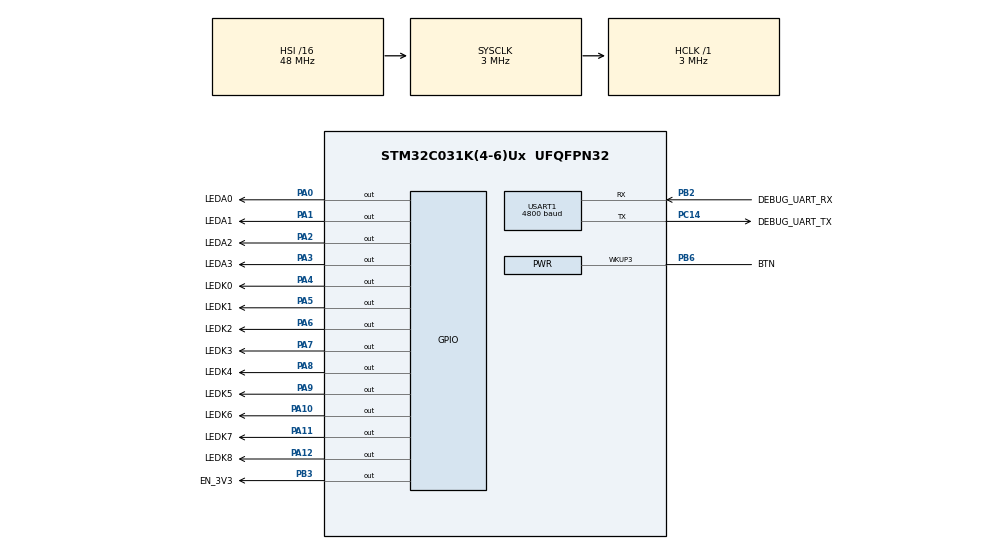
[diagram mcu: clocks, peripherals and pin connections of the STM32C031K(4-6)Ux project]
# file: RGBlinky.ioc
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ADC1.NbrOfConversionFlag=0
ADC1.Resolution=ADC_RESOLUTION_12B
ADC1.SelectedChannel=ADC_CHANNEL_VDDA
ADC1.master=1
Dma.DMA_GENERATOR0.0.Direction=DMA_MEMORY_TO_PERIPH
Dma.DMA_GENERATOR0.0.EventEnable=DISABLE
Dma.DMA_GENERATOR0.0.Instance=DMA1_Channel1
Dma.DMA_GENERATOR0.0.MemDataAlignment=DMA_MDATAALIGN_WORD
Dma.DMA_GENERATOR0.0.MemInc=DMA_MINC_ENABLE
Dma.DMA_GENERATOR0.0.Mode=DMA_CIRCULAR
Dma.DMA_GENERATOR0.0.PeriphDataAlignment=DMA_PDATAALIGN_WORD
Dma.DMA_GENERATOR0.0.PeriphInc=DMA_PINC_DISABLE
Dma.DMA_GENERATOR0.0.Polarity=HAL_DMAMUX_REQ_GEN_RISING
Dma.DMA_GENERATOR0.0.Priority=DMA_PRIORITY_HIGH
Dma.DMA_GENERATOR0.0.RequestNumber=1
Dma.DMA_GENERATOR0.0.SignalID=NONE
Dma.DMA_GENERATOR0.0.SyncEnable=DISABLE
Dma.DMA_GENERATOR0.0.SyncPolarity=HAL_DMAMUX_SYNC_NO_EVENT
Dma.DMA_GENERATOR0.0.SyncRequestNumber=1
Dma.DMA_GENERATOR0.0.SyncSignalID=NONE
Dma.Request0=DMA_GENERATOR0
Mcu.Family=STM32C0
Mcu.Name=STM32C031K(4-6)Ux
Mcu.Package=UFQFPN32
PA0.GPIO_Label=LEDA0
PA0.Signal=GPIO_Output
PA1.GPIO_Label=LEDA1
PA1.Signal=GPIO_Output
PA10.GPIO_Label=LEDK6
PA10.Signal=GPIO_Output
PA11\ [PA9].GPIO_Label=LEDK7
PA11\ [PA9].Signal=GPIO_Output
PA12\ [PA10].GPIO_Label=LEDK8
PA12\ [PA10].Signal=GPIO_Output
PA13.Mode=Serial_Wire
PA13.Signal=DEBUG_SWDIO
PA14-BOOT0.Mode=Serial_Wire
PA14-BOOT0.Signal=DEBUG_SWCLK
PA2.GPIO_Label=LEDA2
PA2.Signal=GPIO_Output
PA3.GPIO_Label=LEDA3
PA3.Signal=GPIO_Output
PA4.GPIO_Label=LEDK0
PA4.Signal=GPIO_Output
PA5.GPIO_Label=LEDK1
PA5.Signal=GPIO_Output
PA6.GPIO_Label=LEDK2
PA6.Signal=GPIO_Output
PA7.GPIO_Label=LEDK3
PA7.Signal=GPIO_Output
PA8.GPIO_Label=LEDK4
PA8.Signal=GPIO_Output
PA9.GPIO_Label=LEDK5
PA9.Signal=GPIO_Output
PB2.GPIO_Label=DEBUG_UART_RX
PB2.Mode=Asynchronous
PB2.Signal=USART1_RX
PB3.GPIO_Label=EN_3V3
PB3.Signal=GPIO_Output
PB6.GPIO_Label=BTN
PB6.Mode=WakeUp3
PB6.Signal=PWR_WKUP3
PC14-OSCX_IN\ (PC14).GPIO_Label=DEBUG_UART_TX
PC14-OSCX_IN\ (PC14).Mode=Asynchronous
PC14-OSCX_IN\ (PC14).Signal=USART1_TX
ProjectManager.HeapSize=0x200
ProjectManager.StackSize=0x400
ProjectManager.TargetToolchain=STM32CubeIDE
RCC.ADCFreq_Value=3000000
RCC.AHBFreq_Value=3000000
RCC.CortexFreq_Value=3000000
RCC.EXTERNAL_CLOCK_VALUE=12288000
RCC.HCLKFreq_Value=3000000
RCC.HSE_VALUE=8000000
RCC.HSISYSCLKDivider=RCC_HSI_DIV16
RCC.HSI_VALUE=48000000
RCC.LSE_VALUE=32768
RCC.SYSCLKFreq_VALUE=3000000
USART1.BaudRate=4800
USART1.VirtualMode-Asynchronous=VM_ASYNC
VP_ADC1_Vdda_Input.Mode=IN-VDDA
board=custom

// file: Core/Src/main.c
/* USER CODE BEGIN Header */
/**
  ******************************************************************************
  * @file           : main.c
  * @brief          : Main program body
  ******************************************************************************
  * @attention
  *
  * Copyright (c) 2025 STMicroelectronics.
  * All rights reserved.
  *
  * This software is licensed under terms that can be found in the LICENSE file
  * in the root directory of this software component.
  * If no LICENSE file comes with this software, it is provided AS-IS.
  *
  ******************************************************************************
  */
/* USER CODE END Header */
#include "main.h"
#include "adc.h"
#include "dma.h"
#include "usart.h"
#include "gpio.h"

/* USER CODE BEGIN Includes */
#include <stdbool.h>

// Defines
#define LED_ROWS 4
#define LED_NUM 9
#define LED_CNT LED_ROWS * LED_COLS // RGB
#define LED_PWM_MAX 255 // 0...255 -> 256 steps
#define BUFFER_SIZE LED_ROWS * LED_PWM_MAX
#define BUFFER_COUNT 2
#define FRAME_COUNT 4

// Arrays and variables
uint32_t LedBuffer[BUFFER_COUNT][BUFFER_SIZE]; // Circular DMA buffer - 2*4kB
bool BufferSelect = 0;

uint8_t LedFrame[FRAME_COUNT][LED_ROWS][LED_NUM] = {
		{
			{255, 0, 0, 0, 255, 0, 0, 0, 255},
			{191, 0, 0, 0, 191, 0, 0, 0, 191},
			{127, 0, 0, 0, 127, 0, 0, 0, 127},
			{63, 0, 0, 0, 63, 0, 0, 0, 63}
		},
		{
			{255, 0, 0, 127, 0, 0, 63, 0, 0},
			{255, 0, 0, 127, 0, 0, 63, 0, 0},
			{255, 0, 0, 127, 0, 0, 63, 0, 0},
			{255, 0, 0, 127, 0, 0, 63, 0, 0}
		},
		{
			{0, 255, 0, 0, 127, 0, 0, 63, 0},
			{0, 255, 0, 0, 127, 0, 0, 63, 0},
			{0, 255, 0, 0, 127, 0, 0, 63, 0},
			{0, 255, 0, 0, 127, 0, 0, 63, 0}
		},
		{
			{0, 0, 255, 0, 0, 127, 0, 0, 63},
			{0, 0, 255, 0, 0, 127, 0, 0, 63},
			{0, 0, 255, 0, 0, 127, 0, 0, 63},
			{0, 0, 255, 0, 0, 127, 0, 0, 63}
		}
};

// Gamma brightness lookup table <https://victornpb.github.io/gamma-table-generator>
// gamma = 1.50 steps = 256 range = 0-255
const uint8_t gamma_lut[256] = {
     0,   0,   0,   0,   1,   1,   1,   1,   1,   2,   2,   2,   3,   3,   3,   4,
     4,   4,   5,   5,   6,   6,   6,   7,   7,   8,   8,   9,   9,  10,  10,  11,
    11,  12,  12,  13,  14,  14,  15,  15,  16,  16,  17,  18,  18,  19,  20,  20,
    21,  21,  22,  23,  23,  24,  25,  26,  26,  27,  28,  28,  29,  30,  31,  31,
    32,  33,  34,  34,  35,  36,  37,  37,  38,  39,  40,  41,  41,  42,  43,  44,
    45,  46,  46,  47,  48,  49,  50,  51,  52,  53,  53,  54,  55,  56,  57,  58,
    59,  60,  61,  62,  63,  64,  65,  65,  66,  67,  68,  69,  70,  71,  72,  73,
    74,  75,  76,  77,  78,  79,  80,  81,  82,  83,  84,  85,  86,  88,  89,  90,
    91,  92,  93,  94,  95,  96,  97,  98,  99, 100, 102, 103, 104, 105, 106, 107,
   108, 109, 110, 112, 113, 114, 115, 116, 117, 119, 120, 121, 122, 123, 124, 126,
   127, 128, 129, 130, 132, 133, 134, 135, 136, 138, 139, 140, 141, 142, 144, 145,
   146, 147, 149, 150, 151, 152, 154, 155, 156, 158, 159, 160, 161, 163, 164, 165,
   167, 168, 169, 171, 172, 173, 174, 176, 177, 178, 180, 181, 182, 184, 185, 187,
   188, 189, 191, 192, 193, 195, 196, 197, 199, 200, 202, 203, 204, 206, 207, 209,
   210, 211, 213, 214, 216, 217, 218, 220, 221, 223, 224, 226, 227, 228, 230, 231,
   233, 234, 236, 237, 239, 240, 242, 243, 245, 246, 248, 249, 251, 252, 254, 255,
};

/* USER CODE END Includes */

/* USER CODE BEGIN PTD */
/*
typedef enum {
	LOAD,
	ADD,
	REPEAT,
	RSHIFT,
	LSHIFT
} LED_OPCODE_E;

typedef struct {
	uint8_t red;
	uint8_t green;
	uint8_t blue;
} LedRgb_t;
typedef struct {
	uint16_t frameTime;
	LedRgb_t brightness[ROWS][COLS];
} LedFrame_t;
typedef struct {
	LED_OPCODE_E opcode;
	LedFrame_t frame;
} LedAnimation_t;

LedAnimation_t animation[] = {
		LOAD, { 100, { { {255, 0, 0}, {0, 255, 0}, {0, 0, 255} },
					   { {255, 0, 0}, {0, 255, 0}, {0, 0, 255} },
					   { {255, 0, 0}, {0, 255, 0}, {0, 0, 255} },
					   { {255, 0, 0}, {0, 255, 0}, {0, 0, 255} } } },
		REPEAT,
};

int leds[12];

int instCnt = 0;
int instMax = 3;
typedef void (*instructions_t)(void);
void load() {
	leds = (int){0, 1, 2, 3, 4, 5, 6, 7, 8, 9, 10, 11};
}
void add() {
	for(int i = 0; i < 12; i++) {

	}
}
void repeat() {
	if(instCnt+1 == instMax)
		return;

	for(int i = 0; i < 5; i++)
		instuctions[instCnt+1]();
}

instructions_t instuctions[] = {
		load, repeat, add
};
*/

/* USER CODE END PTD */

/* USER CODE BEGIN PM */

// Macros for buffer generation
#define ANODE_PIN(row)     (1U << (row))
#define CATHODE_PIN(col)   (1U << ((col) + LED_ROWS))

void GenerateBuffer(uint8_t frame[][LED_NUM]) {
	// Delete buffer (keep upper bits)
	// LED anode, cathode HIGH -> Turn OFF
	uint32_t reg = GPIOA->ODR | 0x1FFF;
	for (uint32_t i = 0; i < BUFFER_SIZE; i++) {
		LedBuffer[BufferSelect][i] = reg;
	}

	// Generate buffer
	for (uint32_t row = 0; row < LED_ROWS; row++) { // Select row
		for (uint32_t led = 0; led < LED_NUM; led++) { // Select LED

			// PWM number between 0-255
			uint8_t pwm = gamma_lut[frame[row][led]];

			// Set LED values
			for (uint16_t n = 0; n < pwm; n++) {
				LedBuffer[BufferSelect][row * LED_PWM_MAX + n] &= ~ANODE_PIN(row); // LED anode
				LedBuffer[BufferSelect][row * LED_PWM_MAX + n] &= ~CATHODE_PIN(led); // LED cathode
			}
		}
	}
}

void LedDrive() {
	HAL_DMA_Abort(&hdma_dma_generator0);
	HAL_DMA_Start(&hdma_dma_generator0, (uint32_t)LedBuffer[BufferSelect], (uint32_t)&(GPIOA->ODR), BUFFER_SIZE);
	BufferSelect = !BufferSelect;
}

/* USER CODE END PM */

void SystemClock_Config(void);

int main(void)
{

  /* MCU Configuration--------------------------------------------------------*/

  /* Reset of all peripherals, Initializes the Flash interface and the Systick. */
  HAL_Init();

  /* Configure the system clock */
  SystemClock_Config();

  /* Initialize all configured peripherals */
  MX_GPIO_Init();
  MX_DMA_Init();
  MX_ADC1_Init();
  MX_USART1_UART_Init();
  /* USER CODE BEGIN 2 */
  /*
  while(insCnt < instMax) {
	  instuctions[instCnt]();
	  instCnt++;
  }
  */

  /* USER CODE END 2 */

  /* Infinite loop */
  /* USER CODE BEGIN WHILE */
  while (1)
  {
	  for(int i = 0; i < 4; i++) {
		  GenerateBuffer(LedFrame[i]);
		  LedDrive();
		  HAL_Delay(1000);
	  }

    /* USER CODE END WHILE */

  }
}

void SystemClock_Config(void)
{
  RCC_OscInitTypeDef RCC_OscInitStruct = {0};
  RCC_ClkInitTypeDef RCC_ClkInitStruct = {0};

  __HAL_FLASH_SET_LATENCY(FLASH_LATENCY_0);

  /** Initializes the RCC Oscillators according to the specified parameters
  * in the RCC_OscInitTypeDef structure.
  */
  RCC_OscInitStruct.OscillatorType = RCC_OSCILLATORTYPE_HSI;
  RCC_OscInitStruct.HSIState = RCC_HSI_ON;
  RCC_OscInitStruct.HSIDiv = RCC_HSI_DIV16;
  RCC_OscInitStruct.HSICalibrationValue = RCC_HSICALIBRATION_DEFAULT;
  if (HAL_RCC_OscConfig(&RCC_OscInitStruct) != HAL_OK)
  {
    Error_Handler();
  }

  /** Initializes the CPU, AHB and APB buses clocks
  */
  RCC_ClkInitStruct.ClockType = RCC_CLOCKTYPE_HCLK|RCC_CLOCKTYPE_SYSCLK
                              |RCC_CLOCKTYPE_PCLK1;
  RCC_ClkInitStruct.SYSCLKSource = RCC_SYSCLKSOURCE_HSI;
  RCC_ClkInitStruct.SYSCLKDivider = RCC_SYSCLK_DIV1;
  RCC_ClkInitStruct.AHBCLKDivider = RCC_HCLK_DIV1;
  RCC_ClkInitStruct.APB1CLKDivider = RCC_APB1_DIV1;

  if (HAL_RCC_ClockConfig(&RCC_ClkInitStruct, FLASH_LATENCY_0) != HAL_OK)
  {
    Error_Handler();
  }
}

void Error_Handler(void)
{
  __disable_irq();
  while (1)
  {
  }
}
